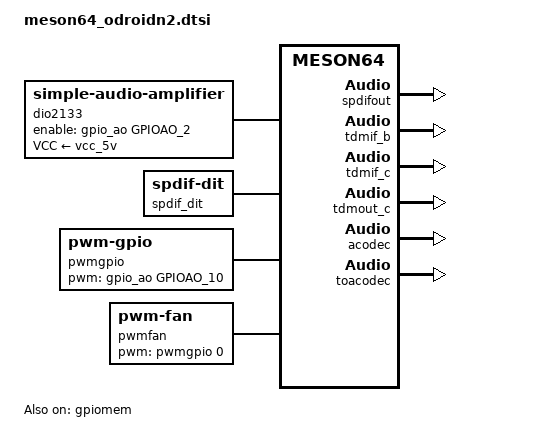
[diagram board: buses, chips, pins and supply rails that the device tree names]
// SPDX-License-Identifier: (GPL-2.0+ OR MIT)
/*
 * Copyright (c) 2021 Dongjin Kim <tobetter@gmail.com>
 *
 */

#include <dt-bindings/clock/axg-audio-clkc.h>
#include <dt-bindings/sound/meson-g12a-tohdmitx.h>
#include <dt-bindings/sound/meson-g12a-toacodec.h>
#include <dt-bindings/reset/amlogic,meson-axg-audio-arb.h>
#include <dt-bindings/reset/amlogic,meson-g12a-audio-reset.h>
#include <dt-bindings/pwm/pwm.h>

/ {
	aliases {
		mmc0 = &sd_emmc_c; /* eMMC */
		mmc1 = &sd_emmc_b; /* SD card */
		mmc2 = &sd_emmc_a; /* SDIO */
	};

	gpiomem {
		compatible = "amlogic, gpiomem";
		reg = <0x0 0xff634000 0x0 0x1000>; /* PERIPHS_REG */
		status = "okay";
	};

	reboot: odroid-reboot {
		compatible = "odroid,reboot";
		sys_reset = <0x84000009>;
		sys_poweroff = <0x84000008>;

		sd-vqsw = <&gpio_ao GPIOAO_9 GPIO_ACTIVE_HIGH>;
		sd-vmmc = <&gpio_ao GPIOAO_8 GPIO_ACTIVE_HIGH>;
	};

	dio2133: audio-amplifier-0 {
		compatible = "simple-audio-amplifier";
		enable-gpios = <&gpio_ao GPIOAO_2 GPIO_ACTIVE_HIGH>;
		VCC-supply = <&vcc_5v>;
		sound-name-prefix = "AMP";
	};

	spdif_dit: audio-codec-1 {
		#sound-dai-cells = <0>;
		compatible = "linux,spdif-dit";
		status = "okay";
		sound-name-prefix = "DIT";
	};

	sound {
		compatible = "amlogic,axg-sound-card";
		model = "G12B-ODROID-N2";
		audio-aux-devs = <&tdmout_b>, <&tdmout_c>, <&dio2133>;
		audio-routing = "TDMOUT_B IN 0", "FRDDR_A OUT 1",
				"TDMOUT_B IN 1", "FRDDR_B OUT 1",
				"TDMOUT_B IN 2", "FRDDR_C OUT 1",
				"TDM_B Playback", "TDMOUT_B OUT",
				"TDMOUT_C IN 0", "FRDDR_A OUT 2",
				"TDMOUT_C IN 1", "FRDDR_B OUT 2",
				"TDMOUT_C IN 2", "FRDDR_C OUT 2",
				"TDM_C Playback", "TDMOUT_C OUT",
				"SPDIFOUT IN 0", "FRDDR_A OUT 3",
				"SPDIFOUT IN 1", "FRDDR_B OUT 3",
				"SPDIFOUT IN 2", "FRDDR_C OUT 3",
				"AMP INL", "ACODEC LOLP",
				"AMP INR", "ACODEC LORP";

		assigned-clocks = <&clkc CLKID_HIFI_PLL>,
				  <&clkc CLKID_MPLL0>,
				  <&clkc CLKID_MPLL1>;
		assigned-clock-parents = <0>, <0>, <0>;
		assigned-clock-rates = <589824000>,
				       <270950400>,
				       <393216000>;

		status = "okay";

		dai-link-0 {
			sound-dai = <&frddr_a>;
		};

		dai-link-1 {
			sound-dai = <&frddr_b>;
		};

		dai-link-2 {
			sound-dai = <&frddr_c>;
		};

		/* 8ch hdmi interface */
		dai-link-3 {
			sound-dai = <&tdmif_b>;
			dai-format = "i2s";
			dai-tdm-slot-tx-mask-0 = <1 1>;
			dai-tdm-slot-tx-mask-1 = <1 1>;
			dai-tdm-slot-tx-mask-2 = <1 1>;
			dai-tdm-slot-tx-mask-3 = <1 1>;
			mclk-fs = <256>;

			codec {
				sound-dai = <&tohdmitx TOHDMITX_I2S_IN_B>;
			};
		};

		dai-link-4 {
			sound-dai = <&tdmif_c>;
			dai-format = "i2s";
			dai-tdm-slot-tx-mask-0 = <1 1>;
			mclk-fs = <256>;

			codec {
				sound-dai = <&toacodec TOACODEC_IN_C>;
			};
		};

		dai-link-5 {
			sound-dai = <&spdifout>;

			codec {
				sound-dai = <&spdif_dit>;
			};
		};

		dai-link-6 {
			sound-dai = <&tohdmitx TOHDMITX_I2S_OUT>;

			codec {
				sound-dai = <&hdmi_tx>;
			};
		};

		dai-link-7 {
			sound-dai = <&toacodec TOACODEC_OUT>;

			codec {
				sound-dai = <&acodec>;
			};
		};
	};

	pwmgpio:pwmgpio {
		compatible = "pwm-gpio";
		#pwm-cells = <3>;
		pwm-gpios = <&gpio_ao GPIOAO_10 GPIO_ACTIVE_HIGH>;
		status = "okay";
	};

	pwmfan:pwm-fan {
		compatible = "pwm-fan";
		pwms = <&pwmgpio 0 40000 PWM_POLARITY_INVERTED>;
		cooling-min-state = <0>;
		cooling-max-state = <3>;
		#cooling-cells = <2>;
		cooling-levels = <0 120 170 220>;
	};
};

&cpu_thermal {
	trips {
		fan_0: trip-point@0 {
			temperature = <65000>;
			hysteresis = <5000>;
			type = "active";
		};
		fan_1: trip-point@1 {
			temperature = <75000>;
			hysteresis = <5000>;
			type = "active";
		};
	};
	cooling-maps {
		fan_cooling_map0 {
			trip = <&fan_0>;
			cooling-device = <&pwmfan THERMAL_NO_LIMIT 2>;
		};
		fan_cooling_map1 {
			trip = <&fan_1>;
			cooling-device = <&pwmfan 2 THERMAL_NO_LIMIT>;
		};
	};
};

&i2c2 {
	status = "disabled";
	pinctrl-names = "default";
	pinctrl-0 = <&i2c2_sda_x_pins>, <&i2c2_sck_x_pins>;
};

&i2c3 {
	status = "disabled";
	pinctrl-names = "default";
	pinctrl-0 = <&i2c3_sda_a_pins>, <&i2c3_sck_a_pins>;
};

&sd_emmc_b {
	max-frequency = <200000000>;
	sd-uhs-sdr12;
	sd-uhs-sdr25;
	sd-uhs-sdr50;
	sd-uhs-sdr104;
};

&ethmac {
	/delete-property/	resets;
	/delete-property/	reset-names;
};

&external_phy {
	/delete-property/	interrupts;
	/delete-property/	interrupts-parent;
};

&gpio {
	gpio-line-names =
		/* GPIOZ */
		"", "", "", "", "", "", "", "",
		"", "", "", "", "", "", "", "",
		/* GPIOH */
		"", "", "", "", "", "", "", "",
		"",
		/* BOOT */
		"", "", "", "", "", "", "", "",
		"", "", "", "", "", "", "", "",
		/* GPIOC */
		"", "", "", "", "", "", "", "",
		/* GPIOA */
		"PIN_44", /* GPIOA_0 */
		"PIN_46", /* GPIOA_1 */
		"PIN_45", /* GPIOA_2 */
		"PIN_47", /* GPIOA_3 */
		"PIN_26", /* GPIOA_4 */
		"", "", "", "", "", "",
		"PIN_42", /* GPIOA_11 */
		"PIN_32", /* GPIOA_12 */
		"PIN_7",  /* GPIOA_13 */
		"PIN_27", /* GPIOA_14 */
		"PIN_28", /* GPIOA_15 */
		/* GPIOX */
		"PIN_16", /* GPIOX_0 */
		"PIN_18", /* GPIOX_1 */
		"PIN_22", /* GPIOX_2 */
		"PIN_11", /* GPIOX_3 */
		"PIN_13", /* GPIOX_4 */
		"PIN_33", /* GPIOX_5 */
		"PIN_35", /* GPIOX_6 */
		"PIN_15", /* GPIOX_7 */
		"PIN_19", /* GPIOX_8 */
		"PIN_21", /* GPIOX_9 */
		"PIN_24", /* GPIOX_10 */
		"PIN_23", /* GPIOX_11 */
		"PIN_8",  /* GPIOX_12 */
		"PIN_10", /* GPIOX_13 */
		"PIN_29", /* GPIOX_14 */
		"PIN_31", /* GPIOX_15 */
		"PIN_12", /* GPIOX_16 */
		"PIN_3",  /* GPIOX_17 */
		"PIN_5",  /* GPIOX_18 */
		"PIN_36"; /* GPIOX_19 */
};

&gpu_opp_table {
	opp-999999984 {
		opp-hz = /bits/ 64 <999999984>;
		opp-microvolt = <800000>;
	};
};

&spdifout {
	pinctrl-0 = <&spdif_out_a13_pins>;
	pinctrl-names = "default";
	status = "okay";
};

&tdmif_b {
	pinctrl-0 = <&mclk0_a_pins>, <&tdm_b_fs_pins>, <&tdm_b_sclk_pins>,
		    <&tdm_b_dout0_pins>;
	pinctrl-names = "default";
	status = "okay";

	assigned-clocks = <&clkc_audio AUD_CLKID_TDM_MCLK_PAD0>,
			  <&clkc_audio AUD_CLKID_TDM_SCLK_PAD1>,
			  <&clkc_audio AUD_CLKID_TDM_LRCLK_PAD1>;
	assigned-clock-parents = <&clkc_audio AUD_CLKID_MST_B_MCLK>,
				 <&clkc_audio AUD_CLKID_MST_B_SCLK>,
				 <&clkc_audio AUD_CLKID_MST_B_LRCLK>;
	assigned-clock-rates = <0>, <0>, <0>;
};

&tdmif_c {
	status = "okay";
	assigned-clocks = <&clkc_audio AUD_CLKID_TDM_MCLK_PAD1>,
			  <&clkc_audio AUD_CLKID_TDM_SCLK_PAD2>,
			  <&clkc_audio AUD_CLKID_TDM_LRCLK_PAD2>;
	assigned-clock-parents = <&clkc_audio AUD_CLKID_MST_C_MCLK>,
				 <&clkc_audio AUD_CLKID_MST_C_SCLK>,
				 <&clkc_audio AUD_CLKID_MST_C_LRCLK>;
	assigned-clock-rates = <0>, <0>, <0>;
};

&tdmout_c {
	status = "okay";
};

&acodec {
	status = "okay";
};

&toacodec {
	status = "okay";
};

&gpio {
	/delete-node/ hog-0;
};
